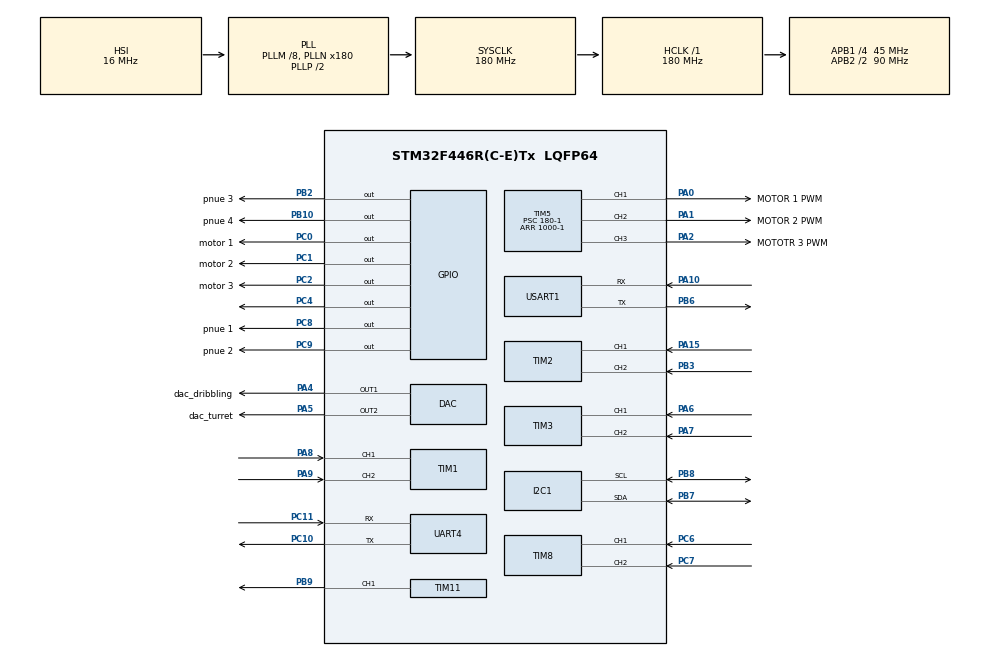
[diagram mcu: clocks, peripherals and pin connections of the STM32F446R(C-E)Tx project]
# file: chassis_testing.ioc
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Dma.Request0=UART4_RX
Dma.UART4_RX.0.Direction=DMA_PERIPH_TO_MEMORY
Dma.UART4_RX.0.FIFOMode=DMA_FIFOMODE_DISABLE
Dma.UART4_RX.0.Instance=DMA1_Stream2
Dma.UART4_RX.0.MemDataAlignment=DMA_MDATAALIGN_BYTE
Dma.UART4_RX.0.MemInc=DMA_MINC_ENABLE
Dma.UART4_RX.0.Mode=DMA_CIRCULAR
Dma.UART4_RX.0.PeriphDataAlignment=DMA_PDATAALIGN_BYTE
Dma.UART4_RX.0.PeriphInc=DMA_PINC_DISABLE
Dma.UART4_RX.0.Priority=DMA_PRIORITY_LOW
I2C1.I2C_Mode=I2C_Fast
Mcu.Family=STM32F4
Mcu.Name=STM32F446R(C-E)Tx
Mcu.Package=LQFP64
NVIC.DMA1_Stream2_IRQn=true\:0\:0\:false\:false\:true\:false\:true\:true
NVIC.PriorityGroup=NVIC_PRIORITYGROUP_0
PA0-WKUP.GPIO_Label=MOTOR 1 PWM
PA0-WKUP.Signal=S_TIM5_CH1
PA1.GPIO_Label=MOTOR 2 PWM
PA1.Signal=S_TIM5_CH2
PA10.Mode=Asynchronous
PA10.Signal=USART1_RX
PA15.Signal=S_TIM2_CH1_ETR
PA2.GPIO_Label=MOTOTR 3 PWM
PA2.Signal=S_TIM5_CH3
PA4.GPIO_Label=dac_dribbling
PA4.Signal=COMP_DAC1_group
PA5.GPIO_Label=dac_turret
PA5.Signal=COMP_DAC2_group
PA6.Signal=S_TIM3_CH1
PA7.Signal=S_TIM3_CH2
PA8.Signal=S_TIM1_CH1
PA9.Signal=S_TIM1_CH2
PB10.GPIO_Label=pnue 4
PB10.Signal=GPIO_Output
PB2.GPIO_Label=pnue 3
PB2.Signal=GPIO_Output
PB3.Signal=S_TIM2_CH2
PB6.Mode=Asynchronous
PB6.Signal=USART1_TX
PB7.Mode=I2C
PB7.Signal=I2C1_SDA
PB8.Mode=I2C
PB8.Signal=I2C1_SCL
PB9.Signal=S_TIM11_CH1
PC0.GPIO_Label=motor 1
PC0.Signal=GPIO_Output
PC1.GPIO_Label=motor 2
PC1.Signal=GPIO_Output
PC10.Mode=Asynchronous
PC10.Signal=UART4_TX
PC11.Mode=Asynchronous
PC11.Signal=UART4_RX
PC2.GPIO_Label=motor 3
PC2.Signal=GPIO_Output
PC4.Signal=GPIO_Output
PC6.Signal=S_TIM8_CH1
PC7.Signal=S_TIM8_CH2
PC8.GPIO_Label=pnue 1
PC8.Signal=GPIO_Output
PC9.GPIO_Label=pnue 2
PC9.Signal=GPIO_Output
ProjectManager.HeapSize=0x200
ProjectManager.StackSize=0x400
ProjectManager.TargetToolchain=STM32CubeIDE
RCC.48MHZClocksFreq_Value=84000000
RCC.AHBFreq_Value=180000000
RCC.APB1CLKDivider=RCC_HCLK_DIV4
RCC.APB1Freq_Value=45000000
RCC.APB1TimFreq_Value=90000000
RCC.APB2CLKDivider=RCC_HCLK_DIV2
RCC.APB2Freq_Value=90000000
RCC.APB2TimFreq_Value=180000000
RCC.CortexFreq_Value=180000000
RCC.FLatency-AdvancedSettings=FLASH_LATENCY_5
RCC.HCLKFreq_Value=180000000
RCC.HSE_VALUE=8000000
RCC.HSI_VALUE=16000000
RCC.PLLM=8
RCC.PLLN=180
RCC.SYSCLKFreq_VALUE=180000000
RCC.SYSCLKSource=RCC_SYSCLKSOURCE_PLLCLK
RCC.USBFreq_Value=180000000
RCC.VCOOutputFreq_Value=360000000
SH.COMP_DAC1_group.0=DAC_OUT1,DAC_OUT1
SH.COMP_DAC2_group.0=DAC_OUT2,DAC_OUT2
SH.S_TIM11_CH1.0=TIM11_CH1,PWM Generation1 CH1
SH.S_TIM1_CH1.0=TIM1_CH1,Encoder_Interface
SH.S_TIM1_CH2.0=TIM1_CH2,Encoder_Interface
SH.S_TIM2_CH1_ETR.0=TIM2_CH1,Encoder_Interface
SH.S_TIM2_CH2.0=TIM2_CH2,Encoder_Interface
SH.S_TIM3_CH1.0=TIM3_CH1,Encoder_Interface
SH.S_TIM3_CH2.0=TIM3_CH2,Encoder_Interface
SH.S_TIM5_CH1.0=TIM5_CH1,PWM Generation1 CH1
SH.S_TIM5_CH2.0=TIM5_CH2,PWM Generation2 CH2
SH.S_TIM5_CH3.0=TIM5_CH3,PWM Generation3 CH3
SH.S_TIM8_CH1.0=TIM8_CH1,Encoder_Interface
SH.S_TIM8_CH2.0=TIM8_CH2,Encoder_Interface
TIM1.EncoderMode=TIM_ENCODERMODE_TI12
TIM11.Channel=TIM_CHANNEL_1
TIM11.Period=1000-1
TIM11.Prescaler=180-1
TIM2.EncoderMode=TIM_ENCODERMODE_TI12
TIM3.EncoderMode=TIM_ENCODERMODE_TI12
TIM5.Channel-PWM\ Generation1\ CH1=TIM_CHANNEL_1
TIM5.Channel-PWM\ Generation2\ CH2=TIM_CHANNEL_2
TIM5.Channel-PWM\ Generation3\ CH3=TIM_CHANNEL_3
TIM5.Period=1000-1
TIM5.Prescaler=180-1
TIM8.EncoderMode=TIM_ENCODERMODE_TI12
UART4.VirtualMode=Asynchronous
USART1.VirtualMode=VM_ASYNC
VP_TIM11_VS_ClockSourceINT.Mode=Enable_Timer
board=NUCLEO-F446RE

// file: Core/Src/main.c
/* USER CODE BEGIN Header */
/**
  ******************************************************************************
  * @file           : main.c
  * @brief          : Main program body
  ******************************************************************************
  * @attention
  *
  * Copyright (c) 2025 STMicroelectronics.
  * All rights reserved.
  *
  * This software is licensed under terms that can be found in the LICENSE file
  * in the root directory of this software component.
  * If no LICENSE file comes with this software, it is provided AS-IS.
  *
  ******************************************************************************
  */
/* USER CODE END Header */
#include "main.h"

/* USER CODE BEGIN Includes */
#include<inttypes.h>

#include <stdbool.h>

#include "BNO055.h"
/* USER CODE END Includes */

DAC_HandleTypeDef hdac;

I2C_HandleTypeDef hi2c1;

TIM_HandleTypeDef htim1;
TIM_HandleTypeDef htim2;
TIM_HandleTypeDef htim3;
TIM_HandleTypeDef htim5;
TIM_HandleTypeDef htim8;
TIM_HandleTypeDef htim11;

UART_HandleTypeDef huart4;
UART_HandleTypeDef huart1;
DMA_HandleTypeDef hdma_uart4_rx;

void SystemClock_Config(void);
static void MX_GPIO_Init(void);
static void MX_DMA_Init(void);
static void MX_I2C1_Init(void);
static void MX_UART4_Init(void);
static void MX_DAC_Init(void);
static void MX_TIM1_Init(void);
static void MX_TIM2_Init(void);
static void MX_TIM3_Init(void);
static void MX_TIM5_Init(void);
static void MX_TIM8_Init(void);
static void MX_TIM11_Init(void);
static void MX_USART1_UART_Init(void);

/* USER CODE BEGIN 0 */
uint8_t rxbuff[16];

int slow=75;

int fast=500;

int Buff1=30;

int Buff2=-30;

int BuffP=40;

int BuffN=-40;

int32_t lx, ly, rx, ry, cro, squ, tri, cir, up, down, left, right, ll1, rr1, ll2, rr2;

void HAL_UART_RxCpltCallback(UART_HandleTypeDef *huart){

	 HAL_UART_Receive_DMA(&huart4, rxbuff, 16);
}

long map(long x, long in_min, long in_max, long out_min, long out_max)
{
return (x - in_min) * (out_max - out_min) / (in_max - in_min) + out_min;
}
/* USER CODE END 0 */

int main(void)
{

  /* MCU Configuration--------------------------------------------------------*/

  /* Reset of all peripherals, Initializes the Flash interface and the Systick. */
  HAL_Init();

  /* Configure the system clock */
  SystemClock_Config();

  /* Initialize all configured peripherals */
  MX_GPIO_Init();
  MX_DMA_Init();
  MX_I2C1_Init();
  MX_UART4_Init();
  MX_DAC_Init();
  MX_TIM1_Init();
  MX_TIM2_Init();
  MX_TIM3_Init();
  MX_TIM5_Init();
  MX_TIM8_Init();
  MX_TIM11_Init();
  MX_USART1_UART_Init();
  /* USER CODE BEGIN 2 */
  HAL_UART_Receive_DMA(&huart4, rxbuff, 16);

  /* Start DAC */
  HAL_DAC_Start(&hdac, DAC_CHANNEL_1);  // Motor 1 control (S1)
  HAL_DAC_Start(&hdac, DAC_CHANNEL_2);  // Motor 1 control (S1)

  void SetMotorSpeed1(float percentage) { // -100% to 100%
	  uint32_t dac_value;

	  // Map percentage (-100 to 100) to DAC range (0-4095)
	  dac_value = (uint32_t)(((percentage + 100) / 200.0) * 4095);

	  HAL_DAC_SetValue(&hdac, DAC_CHANNEL_1, DAC_ALIGN_12B_R, dac_value);
  }

  void SetMotorSpeed2
  (float percentage) { // -100% to 100%
  	  uint32_t dac_value;

  	  // Map percentage (-100 to 100) to DAC range (0-4095)
  	  dac_value = (uint32_t)(((percentage + 100) / 200.0) * 4095);

  	  HAL_DAC_SetValue(&hdac, DAC_CHANNEL_2, DAC_ALIGN_12B_R, dac_value);
    }
  /* USER CODE END 2 */

  /* Infinite loop */
  /* USER CODE BEGIN WHILE */
  while (1)
  {
	  lx = (rxbuff[0] & 0x80) ? (int32_t)rxbuff[0] - 256 : (int32_t)rxbuff[0];

	  ly = (rxbuff[1] & 0x80) ? (int32_t)rxbuff[1] - 256 : (int32_t)rxbuff[1];

	  rx = (rxbuff[2] & 0x80) ? (int32_t)rxbuff[2] - 256 : (int32_t)rxbuff[2];

	  ry = (rxbuff[3] & 0x80) ? (int32_t)rxbuff[3] - 256 : (int32_t)rxbuff[3];

	  cro= (rxbuff[4] & 0x80) ? (int32_t)rxbuff[4] - 256 : (int32_t)rxbuff[4];
	//
	  squ= (rxbuff[5] & 0x80) ? (int32_t)rxbuff[5] - 256 : (int32_t)rxbuff[5];
    /* USER CODE END WHILE */

    /* USER CODE BEGIN 3 */
	  uint16_t dutycycle;

	  //stop
		if(ly>=Buff2 && ly<=Buff1 && lx>=Buff2 && lx<=Buff1 && rx>=Buff2 && rx<=Buff1){

			//motor 1
		   HAL_GPIO_WritePin(motor_1_GPIO_Port, motor_1_Pin, RESET);
		   __HAL_TIM_SET_COMPARE(&htim3,TIM_CHANNEL_2, 0);

		   //motor 2
		   HAL_GPIO_WritePin(motor_2_GPIO_Port, motor_2_Pin, RESET);
		   __HAL_TIM_SET_COMPARE(&htim2,TIM_CHANNEL_1, 0);

		   //motor 3
		   HAL_GPIO_WritePin(motor_3_GPIO_Port, motor_3_Pin, RESET);
		   __HAL_TIM_SET_COMPARE(&htim3,TIM_CHANNEL_1, 0);

		}

		//forward
		else if( ly>=Buff1 && (lx<=BuffP && lx>=BuffN) ){

  //	  		long map(long x, long in_min, long in_max, long out_min, long out_max)
  //	  		{
  //	  		return (x - in_min) * (out_max - out_min) / (in_max - in_min) + out_min;
  //	  		}
			dutycycle=map(ly,Buff1,127,0,fast);
  //	  		int slow=75;
  //	  		int fast=400;
  //	  		int Buff1=20;
  //	  		int Buff2=-20;
  //	  		int BuffP=40;
  //	  		int BuffN=-40;

			//motor 1
			HAL_GPIO_WritePin(motor_1_GPIO_Port, motor_1_Pin, RESET);
		   __HAL_TIM_SET_COMPARE(&htim3,TIM_CHANNEL_2, 0);

		   //motor 2
		   HAL_GPIO_WritePin(motor_2_GPIO_Port, motor_2_Pin, RESET);
		   __HAL_TIM_SET_COMPARE(&htim2,TIM_CHANNEL_1, dutycycle);

		   //motor 3
		   HAL_GPIO_WritePin(motor_3_GPIO_Port, motor_3_Pin, RESET);
		   __HAL_TIM_SET_COMPARE(&htim3,TIM_CHANNEL_1, dutycycle);

		}
		//backward
		else if(ly<=Buff2 && (lx<=BuffP && lx>=BuffN) )

	   {

			 dutycycle=map(ly,-128,Buff2,fast,0);

			 //motor 1
			   HAL_GPIO_WritePin(motor_1_GPIO_Port, motor_1_Pin, SET);
			   __HAL_TIM_SET_COMPARE(&htim3,TIM_CHANNEL_2, 0);

			   //motor 2
			   HAL_GPIO_WritePin(motor_2_GPIO_Port, motor_2_Pin, SET);
			   __HAL_TIM_SET_COMPARE(&htim2,TIM_CHANNEL_1, dutycycle);

			   //motor 3
			   HAL_GPIO_WritePin(motor_3_GPIO_Port, motor_3_Pin, RESET);
			   __HAL_TIM_SET_COMPARE(&htim3,TIM_CHANNEL_1, dutycycle);

	   }

		//RIGHT
		else if(lx>=Buff1 && (ly<=BuffP && ly>=BuffN))

	   {

			dutycycle=map(lx,Buff1,127,0,fast);

			//motor 1
			HAL_GPIO_WritePin(motor_1_GPIO_Port, motor_1_Pin, SET);
		   __HAL_TIM_SET_COMPARE(&htim3,TIM_CHANNEL_2, dutycycle);

		   //motor 2
		   HAL_GPIO_WritePin(motor_2_GPIO_Port, motor_2_Pin, RESET);
		   __HAL_TIM_SET_COMPARE(&htim2,TIM_CHANNEL_1, (0.86 * dutycycle));

		   //motor 3
		   HAL_GPIO_WritePin(motor_3_GPIO_Port, motor_3_Pin, RESET);
		   __HAL_TIM_SET_COMPARE(&htim3,TIM_CHANNEL_1, (0.86 * dutycycle));

	   }
		//left

		else if(lx<=Buff2 && (ly<=BuffP && ly>=BuffN) )

	   {

			dutycycle=map(lx,-128,Buff2,fast,0);
			//motor 1
			HAL_GPIO_WritePin(motor_1_GPIO_Port, motor_1_Pin, RESET);
		   __HAL_TIM_SET_COMPARE(&htim3,TIM_CHANNEL_2, dutycycle);

		   //motor 2
		   HAL_GPIO_WritePin(motor_2_GPIO_Port, motor_2_Pin, SET);
		   __HAL_TIM_SET_COMPARE(&htim2,TIM_CHANNEL_1, (0.86 * dutycycle));

		   //motor 3
		   HAL_GPIO_WritePin(motor_3_GPIO_Port, motor_3_Pin, SET);
		   __HAL_TIM_SET_COMPARE(&htim3,TIM_CHANNEL_1, (0.86 * dutycycle));

	   }

	  //top-right
		else if(lx>70 && ly>70)
		{

			dutycycle=map(rx,-128,Buff2,400,0);

			//motor 1
			HAL_GPIO_WritePin(motor_1_GPIO_Port, motor_1_Pin, SET);
		   __HAL_TIM_SET_COMPARE(&htim3,TIM_CHANNEL_2, dutycycle);

		   //motor 2
		   HAL_GPIO_WritePin(motor_2_GPIO_Port, motor_2_Pin, RESET);
		   __HAL_TIM_SET_COMPARE(&htim2,TIM_CHANNEL_1, dutycycle);

		   //motor 3
		   HAL_GPIO_WritePin(motor_3_GPIO_Port, motor_3_Pin, SET);
		   __HAL_TIM_SET_COMPARE(&htim3,TIM_CHANNEL_1, 0);

	   }
		//top-left
	  else if(lx < -70 && ly > 70)
		{

			dutycycle=map(rx,-128,Buff2,400,0);

			//motor 1
			HAL_GPIO_WritePin(motor_1_GPIO_Port, motor_1_Pin, RESET);
		   __HAL_TIM_SET_COMPARE(&htim3,TIM_CHANNEL_2, dutycycle);

		   //motor 2
		   HAL_GPIO_WritePin(motor_2_GPIO_Port, motor_2_Pin, SET);
		   __HAL_TIM_SET_COMPARE(&htim2,TIM_CHANNEL_1, 0);

		   //motor 3
		   HAL_GPIO_WritePin(motor_3_GPIO_Port, motor_3_Pin, SET);
		   __HAL_TIM_SET_COMPARE(&htim3,TIM_CHANNEL_1, dutycycle);

	   }
	  //bottom-right
		else if(lx > 70 && ly < -70)
		{

			dutycycle=map(rx,-128,Buff2,400,0);

			//motor 1
			HAL_GPIO_WritePin(motor_1_GPIO_Port, motor_1_Pin, SET);
		   __HAL_TIM_SET_COMPARE(&htim3,TIM_CHANNEL_2, dutycycle);

		   //motor 2
		   HAL_GPIO_WritePin(motor_2_GPIO_Port, motor_2_Pin, RESET);
		   __HAL_TIM_SET_COMPARE(&htim2,TIM_CHANNEL_1, 0);

		   //motor 3
		   HAL_GPIO_WritePin(motor_3_GPIO_Port, motor_3_Pin, RESET);
		   __HAL_TIM_SET_COMPARE(&htim3,TIM_CHANNEL_1, dutycycle);

	   }
	  //bottom-left
		else if(lx < -70 && ly < -70)
		{

			dutycycle=map(rx,-128,Buff2,400,0);

			//motor 1
			HAL_GPIO_WritePin(motor_1_GPIO_Port, motor_1_Pin, RESET);
		   __HAL_TIM_SET_COMPARE(&htim3,TIM_CHANNEL_2, dutycycle);

		   //motor 2
		   HAL_GPIO_WritePin(motor_2_GPIO_Port, motor_2_Pin, SET);
		   __HAL_TIM_SET_COMPARE(&htim2,TIM_CHANNEL_1, dutycycle);

		   //motor 3
		   HAL_GPIO_WritePin(motor_3_GPIO_Port, motor_3_Pin, SET);
		   __HAL_TIM_SET_COMPARE(&htim3,TIM_CHANNEL_1, 0);

	   }

		//ANTICLOCKWISE
		else if(rx<=Buff2 && (ry<=BuffP && ry>=BuffN) )
		{

			dutycycle=map(rx,-128,Buff2,400,0);

			//motor 1
			HAL_GPIO_WritePin(motor_1_GPIO_Port, motor_1_Pin, RESET);
		   __HAL_TIM_SET_COMPARE(&htim3,TIM_CHANNEL_2, dutycycle);

		   //motor 2
		   HAL_GPIO_WritePin(motor_2_GPIO_Port, motor_2_Pin, RESET);
		   __HAL_TIM_SET_COMPARE(&htim2,TIM_CHANNEL_1, dutycycle);

		   //motor 3
		   HAL_GPIO_WritePin(motor_3_GPIO_Port, motor_3_Pin, RESET);
		   __HAL_TIM_SET_COMPARE(&htim3,TIM_CHANNEL_1, dutycycle);

	   }
	  //CLOCKWISE
		else if(rx>=Buff1 && (ry<=BuffP && ry>=BuffN) )
		{

			dutycycle=map(rx,Buff1,127,0,400);
			//motor 1
			HAL_GPIO_WritePin(motor_1_GPIO_Port, motor_1_Pin, SET);
		   __HAL_TIM_SET_COMPARE(&htim3,TIM_CHANNEL_2, dutycycle);

		   //motor 2
		   HAL_GPIO_WritePin(motor_2_GPIO_Port, motor_2_Pin, SET);
		   __HAL_TIM_SET_COMPARE(&htim2,TIM_CHANNEL_1, dutycycle);

		   //motor 3
		   HAL_GPIO_WritePin(motor_3_GPIO_Port, motor_3_Pin, SET);
		   __HAL_TIM_SET_COMPARE(&htim3,TIM_CHANNEL_1, dutycycle);

	   }

	  if (BNO055_GetAllData(&hi2c1, &imu_data) == HAL_OK) {
//	  	  	  		   Print accelerometer data (m/s^2)
		  printf("Accel: X=%.2f, Y=%.2f, Z=%.2f m/s^2\n",
				 imu_data.accel_x, imu_data.accel_y, imu_data.accel_z);

//	  	  	  		   Print gyroscope data (degrees/s)
		  printf("Gyro: X=%.2f, Y=%.2f, Z=%.2f deg/s\n",
				 imu_data.gyro_x, imu_data.gyro_y, imu_data.gyro_z);
		  printf("\n\n");
//	  	  	  		   Print orientation data
		  printf("Euler: Yaw=%.2f, Roll=%.2f, Pitch=%.2f deg\n",
				 imu_data.euler_h, imu_data.euler_r, imu_data.euler_p);
		  printf("\n\n");
	  }

	  HAL_Delay(100); // Read at 10Hz
	  HAL_Delay(10);

  }
  /* USER CODE END 3 */
}

void SystemClock_Config(void)
{
  RCC_OscInitTypeDef RCC_OscInitStruct = {0};
  RCC_ClkInitTypeDef RCC_ClkInitStruct = {0};

  /** Configure the main internal regulator output voltage
  */
  __HAL_RCC_PWR_CLK_ENABLE();
  __HAL_PWR_VOLTAGESCALING_CONFIG(PWR_REGULATOR_VOLTAGE_SCALE1);

  /** Initializes the RCC Oscillators according to the specified parameters
  * in the RCC_OscInitTypeDef structure.
  */
  RCC_OscInitStruct.OscillatorType = RCC_OSCILLATORTYPE_HSI;
  RCC_OscInitStruct.HSIState = RCC_HSI_ON;
  RCC_OscInitStruct.HSICalibrationValue = RCC_HSICALIBRATION_DEFAULT;
  RCC_OscInitStruct.PLL.PLLState = RCC_PLL_ON;
  RCC_OscInitStruct.PLL.PLLSource = RCC_PLLSOURCE_HSI;
  RCC_OscInitStruct.PLL.PLLM = 8;
  RCC_OscInitStruct.PLL.PLLN = 180;
  RCC_OscInitStruct.PLL.PLLP = RCC_PLLP_DIV2;
  RCC_OscInitStruct.PLL.PLLQ = 2;
  RCC_OscInitStruct.PLL.PLLR = 2;
  if (HAL_RCC_OscConfig(&RCC_OscInitStruct) != HAL_OK)
  {
    Error_Handler();
  }

  /** Activate the Over-Drive mode
  */
  if (HAL_PWREx_EnableOverDrive() != HAL_OK)
  {
    Error_Handler();
  }

  /** Initializes the CPU, AHB and APB buses clocks
  */
  RCC_ClkInitStruct.ClockType = RCC_CLOCKTYPE_HCLK|RCC_CLOCKTYPE_SYSCLK
                              |RCC_CLOCKTYPE_PCLK1|RCC_CLOCKTYPE_PCLK2;
  RCC_ClkInitStruct.SYSCLKSource = RCC_SYSCLKSOURCE_PLLCLK;
  RCC_ClkInitStruct.AHBCLKDivider = RCC_SYSCLK_DIV1;
  RCC_ClkInitStruct.APB1CLKDivider = RCC_HCLK_DIV4;
  RCC_ClkInitStruct.APB2CLKDivider = RCC_HCLK_DIV2;

  if (HAL_RCC_ClockConfig(&RCC_ClkInitStruct, FLASH_LATENCY_5) != HAL_OK)
  {
    Error_Handler();
  }
}

static void MX_DAC_Init(void)
{

  DAC_ChannelConfTypeDef sConfig = {0};

  /** DAC Initialization
  */
  hdac.Instance = DAC;
  if (HAL_DAC_Init(&hdac) != HAL_OK)
  {
    Error_Handler();
  }

  /** DAC channel OUT1 config
  */
  sConfig.DAC_Trigger = DAC_TRIGGER_NONE;
  sConfig.DAC_OutputBuffer = DAC_OUTPUTBUFFER_ENABLE;
  if (HAL_DAC_ConfigChannel(&hdac, &sConfig, DAC_CHANNEL_1) != HAL_OK)
  {
    Error_Handler();
  }

  /** DAC channel OUT2 config
  */
  if (HAL_DAC_ConfigChannel(&hdac, &sConfig, DAC_CHANNEL_2) != HAL_OK)
  {
    Error_Handler();
  }

}

static void MX_I2C1_Init(void)
{

  hi2c1.Instance = I2C1;
  hi2c1.Init.ClockSpeed = 400000;
  hi2c1.Init.DutyCycle = I2C_DUTYCYCLE_2;
  hi2c1.Init.OwnAddress1 = 0;
  hi2c1.Init.AddressingMode = I2C_ADDRESSINGMODE_7BIT;
  hi2c1.Init.DualAddressMode = I2C_DUALADDRESS_DISABLE;
  hi2c1.Init.OwnAddress2 = 0;
  hi2c1.Init.GeneralCallMode = I2C_GENERALCALL_DISABLE;
  hi2c1.Init.NoStretchMode = I2C_NOSTRETCH_DISABLE;
  if (HAL_I2C_Init(&hi2c1) != HAL_OK)
  {
    Error_Handler();
  }

}

static void MX_TIM1_Init(void)
{

  TIM_Encoder_InitTypeDef sConfig = {0};
  TIM_MasterConfigTypeDef sMasterConfig = {0};

  htim1.Instance = TIM1;
  htim1.Init.Prescaler = 0;
  htim1.Init.CounterMode = TIM_COUNTERMODE_UP;
  htim1.Init.Period = 65535;
  htim1.Init.ClockDivision = TIM_CLOCKDIVISION_DIV1;
  htim1.Init.RepetitionCounter = 0;
  htim1.Init.AutoReloadPreload = TIM_AUTORELOAD_PRELOAD_DISABLE;
  sConfig.EncoderMode = TIM_ENCODERMODE_TI12;
  sConfig.IC1Polarity = TIM_ICPOLARITY_RISING;
  sConfig.IC1Selection = TIM_ICSELECTION_DIRECTTI;
  sConfig.IC1Prescaler = TIM_ICPSC_DIV1;
  sConfig.IC1Filter = 0;
  sConfig.IC2Polarity = TIM_ICPOLARITY_RISING;
  sConfig.IC2Selection = TIM_ICSELECTION_DIRECTTI;
  sConfig.IC2Prescaler = TIM_ICPSC_DIV1;
  sConfig.IC2Filter = 0;
  if (HAL_TIM_Encoder_Init(&htim1, &sConfig) != HAL_OK)
  {
    Error_Handler();
  }
  sMasterConfig.MasterOutputTrigger = TIM_TRGO_RESET;
  sMasterConfig.MasterSlaveMode = TIM_MASTERSLAVEMODE_DISABLE;
  if (HAL_TIMEx_MasterConfigSynchronization(&htim1, &sMasterConfig) != HAL_OK)
  {
    Error_Handler();
  }

}

static void MX_TIM2_Init(void)
{

  TIM_Encoder_InitTypeDef sConfig = {0};
  TIM_MasterConfigTypeDef sMasterConfig = {0};

  htim2.Instance = TIM2;
  htim2.Init.Prescaler = 0;
  htim2.Init.CounterMode = TIM_COUNTERMODE_UP;
  htim2.Init.Period = 4294967295;
  htim2.Init.ClockDivision = TIM_CLOCKDIVISION_DIV1;
  htim2.Init.AutoReloadPreload = TIM_AUTORELOAD_PRELOAD_DISABLE;
  sConfig.EncoderMode = TIM_ENCODERMODE_TI12;
  sConfig.IC1Polarity = TIM_ICPOLARITY_RISING;
  sConfig.IC1Selection = TIM_ICSELECTION_DIRECTTI;
  sConfig.IC1Prescaler = TIM_ICPSC_DIV1;
  sConfig.IC1Filter = 0;
  sConfig.IC2Polarity = TIM_ICPOLARITY_RISING;
  sConfig.IC2Selection = TIM_ICSELECTION_DIRECTTI;
  sConfig.IC2Prescaler = TIM_ICPSC_DIV1;
  sConfig.IC2Filter = 0;
  if (HAL_TIM_Encoder_Init(&htim2, &sConfig) != HAL_OK)
  {
    Error_Handler();
  }
  sMasterConfig.MasterOutputTrigger = TIM_TRGO_RESET;
  sMasterConfig.MasterSlaveMode = TIM_MASTERSLAVEMODE_DISABLE;
  if (HAL_TIMEx_MasterConfigSynchronization(&htim2, &sMasterConfig) != HAL_OK)
  {
    Error_Handler();
  }

}

static void MX_TIM3_Init(void)
{

  TIM_Encoder_InitTypeDef sConfig = {0};
  TIM_MasterConfigTypeDef sMasterConfig = {0};

  htim3.Instance = TIM3;
  htim3.Init.Prescaler = 0;
  htim3.Init.CounterMode = TIM_COUNTERMODE_UP;
  htim3.Init.Period = 65535;
  htim3.Init.ClockDivision = TIM_CLOCKDIVISION_DIV1;
  htim3.Init.AutoReloadPreload = TIM_AUTORELOAD_PRELOAD_DISABLE;
  sConfig.EncoderMode = TIM_ENCODERMODE_TI12;
  sConfig.IC1Polarity = TIM_ICPOLARITY_RISING;
  sConfig.IC1Selection = TIM_ICSELECTION_DIRECTTI;
  sConfig.IC1Prescaler = TIM_ICPSC_DIV1;
  sConfig.IC1Filter = 0;
  sConfig.IC2Polarity = TIM_ICPOLARITY_RISING;
  sConfig.IC2Selection = TIM_ICSELECTION_DIRECTTI;
  sConfig.IC2Prescaler = TIM_ICPSC_DIV1;
  sConfig.IC2Filter = 0;
  if (HAL_TIM_Encoder_Init(&htim3, &sConfig) != HAL_OK)
  {
    Error_Handler();
  }
  sMasterConfig.MasterOutputTrigger = TIM_TRGO_RESET;
  sMasterConfig.MasterSlaveMode = TIM_MASTERSLAVEMODE_DISABLE;
  if (HAL_TIMEx_MasterConfigSynchronization(&htim3, &sMasterConfig) != HAL_OK)
  {
    Error_Handler();
  }

}

static void MX_TIM5_Init(void)
{

  TIM_MasterConfigTypeDef sMasterConfig = {0};
  TIM_OC_InitTypeDef sConfigOC = {0};

  htim5.Instance = TIM5;
  htim5.Init.Prescaler = 180-1;
  htim5.Init.CounterMode = TIM_COUNTERMODE_UP;
  htim5.Init.Period = 1000-1;
  htim5.Init.ClockDivision = TIM_CLOCKDIVISION_DIV1;
  htim5.Init.AutoReloadPreload = TIM_AUTORELOAD_PRELOAD_DISABLE;
  if (HAL_TIM_PWM_Init(&htim5) != HAL_OK)
  {
    Error_Handler();
  }
  sMasterConfig.MasterOutputTrigger = TIM_TRGO_RESET;
  sMasterConfig.MasterSlaveMode = TIM_MASTERSLAVEMODE_DISABLE;
  if (HAL_TIMEx_MasterConfigSynchronization(&htim5, &sMasterConfig) != HAL_OK)
  {
    Error_Handler();
  }
  sConfigOC.OCMode = TIM_OCMODE_PWM1;
  sConfigOC.Pulse = 0;
  sConfigOC.OCPolarity = TIM_OCPOLARITY_HIGH;
  sConfigOC.OCFastMode = TIM_OCFAST_DISABLE;
  if (HAL_TIM_PWM_ConfigChannel(&htim5, &sConfigOC, TIM_CHANNEL_1) != HAL_OK)
  {
    Error_Handler();
  }
  if (HAL_TIM_PWM_ConfigChannel(&htim5, &sConfigOC, TIM_CHANNEL_2) != HAL_OK)
  {
    Error_Handler();
  }
  if (HAL_TIM_PWM_ConfigChannel(&htim5, &sConfigOC, TIM_CHANNEL_3) != HAL_OK)
  {
    Error_Handler();
  }
  HAL_TIM_MspPostInit(&htim5);

}

static void MX_TIM8_Init(void)
{

  TIM_Encoder_InitTypeDef sConfig = {0};
  TIM_MasterConfigTypeDef sMasterConfig = {0};

  htim8.Instance = TIM8;
  htim8.Init.Prescaler = 0;
  htim8.Init.CounterMode = TIM_COUNTERMODE_UP;
  htim8.Init.Period = 65535;
  htim8.Init.ClockDivision = TIM_CLOCKDIVISION_DIV1;
  htim8.Init.RepetitionCounter = 0;
  htim8.Init.AutoReloadPreload = TIM_AUTORELOAD_PRELOAD_DISABLE;
  sConfig.EncoderMode = TIM_ENCODERMODE_TI12;
  sConfig.IC1Polarity = TIM_ICPOLARITY_RISING;
  sConfig.IC1Selection = TIM_ICSELECTION_DIRECTTI;
  sConfig.IC1Prescaler = TIM_ICPSC_DIV1;
  sConfig.IC1Filter = 0;
  sConfig.IC2Polarity = TIM_ICPOLARITY_RISING;
  sConfig.IC2Selection = TIM_ICSELECTION_DIRECTTI;
  sConfig.IC2Prescaler = TIM_ICPSC_DIV1;
  sConfig.IC2Filter = 0;
  if (HAL_TIM_Encoder_Init(&htim8, &sConfig) != HAL_OK)
  {
    Error_Handler();
  }
  sMasterConfig.MasterOutputTrigger = TIM_TRGO_RESET;
  sMasterConfig.MasterSlaveMode = TIM_MASTERSLAVEMODE_DISABLE;
  if (HAL_TIMEx_MasterConfigSynchronization(&htim8, &sMasterConfig) != HAL_OK)
  {
    Error_Handler();
  }

}

static void MX_TIM11_Init(void)
{

  TIM_OC_InitTypeDef sConfigOC = {0};

  htim11.Instance = TIM11;
  htim11.Init.Prescaler = 180-1;
  htim11.Init.CounterMode = TIM_COUNTERMODE_UP;
  htim11.Init.Period = 1000-1;
  htim11.Init.ClockDivision = TIM_CLOCKDIVISION_DIV1;
  htim11.Init.AutoReloadPreload = TIM_AUTORELOAD_PRELOAD_DISABLE;
  if (HAL_TIM_Base_Init(&htim11) != HAL_OK)
  {
    Error_Handler();
  }
  if (HAL_TIM_PWM_Init(&htim11) != HAL_OK)
  {
    Error_Handler();
  }
  sConfigOC.OCMode = TIM_OCMODE_PWM1;
  sConfigOC.Pulse = 0;
  sConfigOC.OCPolarity = TIM_OCPOLARITY_HIGH;
  sConfigOC.OCFastMode = TIM_OCFAST_DISABLE;
  if (HAL_TIM_PWM_ConfigChannel(&htim11, &sConfigOC, TIM_CHANNEL_1) != HAL_OK)
  {
    Error_Handler();
  }
  HAL_TIM_MspPostInit(&htim11);

}

static void MX_UART4_Init(void)
{

  huart4.Instance = UART4;
  huart4.Init.BaudRate = 115200;
  huart4.Init.WordLength = UART_WORDLENGTH_8B;
  huart4.Init.StopBits = UART_STOPBITS_1;
  huart4.Init.Parity = UART_PARITY_NONE;
  huart4.Init.Mode = UART_MODE_TX_RX;
  huart4.Init.HwFlowCtl = UART_HWCONTROL_NONE;
  huart4.Init.OverSampling = UART_OVERSAMPLING_16;
  if (HAL_UART_Init(&huart4) != HAL_OK)
  {
    Error_Handler();
  }

}

static void MX_USART1_UART_Init(void)
{

  huart1.Instance = USART1;
  huart1.Init.BaudRate = 115200;
  huart1.Init.WordLength = UART_WORDLENGTH_8B;
  huart1.Init.StopBits = UART_STOPBITS_1;
  huart1.Init.Parity = UART_PARITY_NONE;
  huart1.Init.Mode = UART_MODE_TX_RX;
  huart1.Init.HwFlowCtl = UART_HWCONTROL_NONE;
  huart1.Init.OverSampling = UART_OVERSAMPLING_16;
  if (HAL_UART_Init(&huart1) != HAL_OK)
  {
    Error_Handler();
  }

}

static void MX_DMA_Init(void)
{

  /* DMA controller clock enable */
  __HAL_RCC_DMA1_CLK_ENABLE();

  /* DMA interrupt init */
  /* DMA1_Stream2_IRQn interrupt configuration */
  HAL_NVIC_SetPriority(DMA1_Stream2_IRQn, 0, 0);
  HAL_NVIC_EnableIRQ(DMA1_Stream2_IRQn);

}

static void MX_GPIO_Init(void)
{
  GPIO_InitTypeDef GPIO_InitStruct = {0};

  /* GPIO Ports Clock Enable */
  __HAL_RCC_GPIOC_CLK_ENABLE();
  __HAL_RCC_GPIOA_CLK_ENABLE();
  __HAL_RCC_GPIOB_CLK_ENABLE();

  /*Configure GPIO pin Output Level */
  HAL_GPIO_WritePin(GPIOC, motor_1_Pin|motor_2_Pin|motor_3_Pin|GPIO_PIN_4
                          |pnue_1_Pin|pnue_2_Pin, GPIO_PIN_RESET);

  /*Configure GPIO pin Output Level */
  HAL_GPIO_WritePin(GPIOB, pnue_3_Pin|pnue_4_Pin, GPIO_PIN_RESET);

  /*Configure GPIO pins : motor_1_Pin motor_2_Pin motor_3_Pin PC4
                           pnue_1_Pin pnue_2_Pin */
  GPIO_InitStruct.Pin = motor_1_Pin|motor_2_Pin|motor_3_Pin|GPIO_PIN_4
                          |pnue_1_Pin|pnue_2_Pin;
  GPIO_InitStruct.Mode = GPIO_MODE_OUTPUT_PP;
  GPIO_InitStruct.Pull = GPIO_NOPULL;
  GPIO_InitStruct.Speed = GPIO_SPEED_FREQ_LOW;
  HAL_GPIO_Init(GPIOC, &GPIO_InitStruct);

  /*Configure GPIO pins : pnue_3_Pin pnue_4_Pin */
  GPIO_InitStruct.Pin = pnue_3_Pin|pnue_4_Pin;
  GPIO_InitStruct.Mode = GPIO_MODE_OUTPUT_PP;
  GPIO_InitStruct.Pull = GPIO_NOPULL;
  GPIO_InitStruct.Speed = GPIO_SPEED_FREQ_LOW;
  HAL_GPIO_Init(GPIOB, &GPIO_InitStruct);

}

void Error_Handler(void)
{
  __disable_irq();
  while (1)
  {
  }
}
